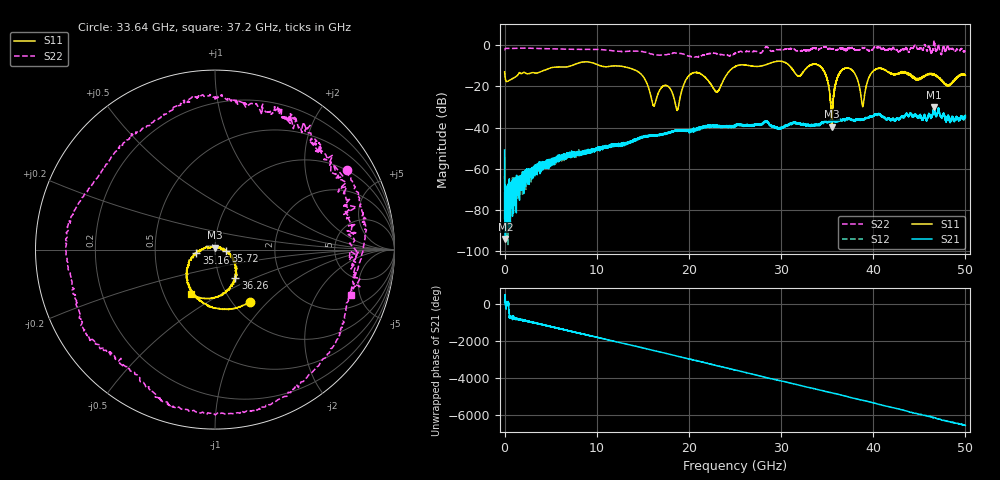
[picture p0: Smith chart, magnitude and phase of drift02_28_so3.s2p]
!Created with skrf (http://scikit-rf.org).
# Hz S RI R 50.0
!freq ReS11 ImS11 ReS21 ImS21 ReS12 ImS12 ReS22 ImS22
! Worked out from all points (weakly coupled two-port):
!   10001 points, 300 kHz to 50 GHz, reference 50 ohm
!   highest |S21| = -30.11 dB at 46.61 GHz (marker M1); lowest = -94.2 dB at 85.3 MHz (marker M2)
!   lowest |S11| = -39.5 dB at 35.49 GHz (marker M3), VSWR 1.02, Z = 49.7 + j1.03 ohm
!   |S11| at or under -10 dB: start of sweep to 7.175 GHz; 12.33 GHz to 25.17 GHz (12.84 GHz wide, 68.5 % of centre); 34.2 GHz to end of sweep (the widest 3 of 19)
!   |S22| runs from -5.7 to 2.4 dB; largest |S21 - S12| = 0.0035
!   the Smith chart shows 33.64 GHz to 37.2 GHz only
!   S11 on the Smith chart (normalised r, x): 33.64 GHz: 1.19, -0.79; 35.16 GHz: 0.81, -0.03; 35.72 GHz: 1.13, -0.01; 36.26 GHz: 1.19, -0.39; 37.2 GHz: 0.69, -0.37
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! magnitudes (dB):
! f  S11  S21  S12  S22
! 300 kHz  -12.8  -50.9  -63.4  -2.1
! 85.3 MHz  -16.4  -94.2  -79.2  -1.5
! 255.3 MHz  -17.6  -75.1  -75.2  -1.4
! 8.335 GHz  -8.2  -51.7  -52.3  -1.9
! 14.01 GHz  -11.7  -46.0  -46.3  -2.8
! 16.67 GHz  -23.3  -43.5  -43.9  -4.7
! 18.74 GHz  -31.7  -41.7  -41.5  -3.7
! 20.23 GHz  -13.8  -41.4  -41.6  -5.5
! 23.04 GHz  -22.6  -39.0  -39.3  -4.1
! 25 GHz  -10.4  -39.5  -39.1  -3.9
! 33.34 GHz  -9.3  -38.6  -38.8  -1.5
! 33.64 GHz  -9.1  -39.1  -38.4  -1.3
! 35.16 GHz  -19.5  -37.2  -37.4  -1.8
! 35.49 GHz  -39.5  -37.1  -36.9  -1.8
! 35.72 GHz  -24.5  -36.8  -36.5  -1.7
! 36.26 GHz  -14.2  -36.5  -36.4  -1.7
! 37.2 GHz  -11.0  -35.2  -35.8  -2.0
! 38.86 GHz  -29.8  -35.9  -35.9  -1.3
! 39.93 GHz  -12.8  -34.4  -34.5  -2.0
! 41.67 GHz  -13.0  -35.5  -35.6  -1.9
! 46.61 GHz  -14.3  -30.1  -30.1  2.4
! 50 GHz  -14.6  -35.1  -34.4  -2.7
